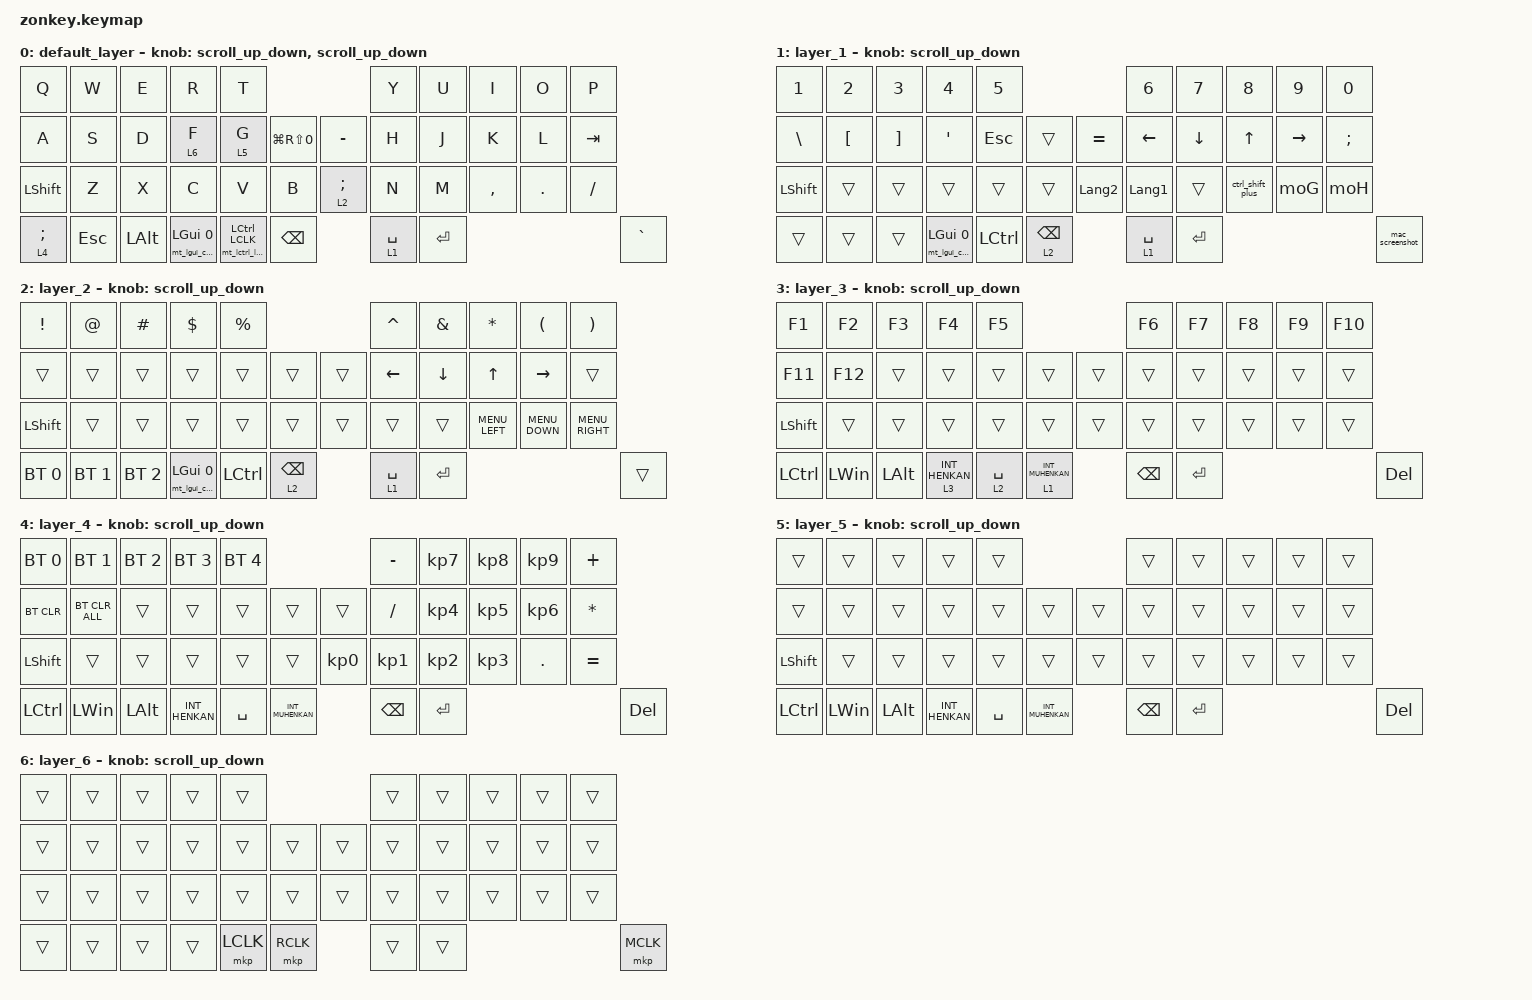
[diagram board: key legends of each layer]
#include <behaviors.dtsi>
#include <dt-bindings/zmk/bt.h>
#include <dt-bindings/zmk/keys.h>
#include <dt-bindings/zmk/pointing.h>
#include "zonkey-custom.dtsi"

#define MOUSE 6
#define JP_DQUOTE       AT                // "
#define JP_AMPERSAND    CARET             // &
#define JP_QUOTE        AMPERSAND         // '
#define JP_EQUAL        UNDER             // =
#define JP_CARET        EQUAL             // ^
#define JP_YEN          0x89              // ¥
#define JP_PLUS         COLON             // +
#define JP_TILDE        PLUS              // ~
#define JP_PIPE         LS(0x89)          // |
#define JP_AT           LEFT_BRACKET      // @
#define JP_COLON        SINGLE_QUOTE      // :
#define JP_ASTERISK     DOUBLE_QUOTES     // *
#define JP_BACKQUOTE    LEFT_BRACE        // `
#define JP_UNDERSCORE   LS(0x87)          // _
#define JP_LBRACKET     RIGHT_BRACKET     // [
#define JP_RBRACKET     BACKSLASH         // ]
#define JP_LPAREN       ASTERISK          // (
#define JP_RPAREN       LEFT_PARENTHESIS  // )
#define JP_LBRACE       RIGHT_BRACE       // {
#define JP_RBRACE       PIPE              // }
#define JP_KANA         LANGUAGE_1        // かな
#define JP_EISU         LANGUAGE_2        // 英数
#define JP_HANZEN       GRAVE             // 半角/全角
#define JP_BSLH  INT1         // (backslash)

&mt {
    flavor = "balanced";
    quick-tap-ms = <0>;
};

/ {
    combos { compatible = "zmk,combos"; };

    mo2: mo2 {
        compatible = "zmk,behavior-mod-morph";
        #binding-cells = <0>;
        bindings = <&kp N2>, <&kp AT>;

        mods = <(MOD_LSFT|MOD_RSFT)>;
    };

    mo6: mo6 {
        compatible = "zmk,behavior-mod-morph";
        #binding-cells = <0>;
        bindings = <&kp N6>, <&kp CARET>;

        mods = <(MOD_LSFT|MOD_RSFT)>;
    };

    mo7: mo7 {
        compatible = "zmk,behavior-mod-morph";
        #binding-cells = <0>;
        bindings = <&kp N7>, <&kp AMPS>;

        mods = <(MOD_LSFT|MOD_RSFT)>;
    };

    mo8: mo8 {
        compatible = "zmk,behavior-mod-morph";
        #binding-cells = <0>;
        bindings = <&kp N8>, <&kp ASTRK>;

        mods = <(MOD_LSFT|MOD_RSFT)>;
    };

    mo9: mo9 {
        compatible = "zmk,behavior-mod-morph";
        #binding-cells = <0>;
        bindings = <&kp N9>, <&kp LPAR>;

        mods = <(MOD_LSFT|MOD_RSFT)>;
    };

    mo0: mo0 {
        compatible = "zmk,behavior-mod-morph";
        #binding-cells = <0>;
        bindings = <&kp N0>, <&kp LS(N9)>;

        mods = <(MOD_LSFT|MOD_RSFT)>;
    };

    moA: moA {
        compatible = "zmk,behavior-mod-morph";
        #binding-cells = <0>;
        bindings = <&kp MINUS>, <&kp UNDERSCORE>;

        mods = <(MOD_LSFT|MOD_RSFT)>;
    };

    moB: moB {
        compatible = "zmk,behavior-mod-morph";
        #binding-cells = <0>;
        bindings = <&kp EQUAL>, <&kp PLUS>;

        mods = <(MOD_LSFT|MOD_RSFT)>;
    };

    moC: moC {
        compatible = "zmk,behavior-mod-morph";
        #binding-cells = <0>;
        bindings = <&kp INT3>, <&kp JP_PIPE>;

        mods = <(MOD_LSFT|MOD_RSFT)>;
    };

    moD: moD {
        compatible = "zmk,behavior-mod-morph";
        #binding-cells = <0>;
        bindings = <&kp LBKT>, <&kp LBRC>;

        mods = <(MOD_LSFT|MOD_RSFT)>;
    };

    moE: moE {
        compatible = "zmk,behavior-mod-morph";
        #binding-cells = <0>;
        bindings = <&kp RBKT>, <&kp RBRC>;

        mods = <(MOD_LSFT|MOD_RSFT)>;
    };

    moF: moF {
        compatible = "zmk,behavior-mod-morph";
        #binding-cells = <0>;
        bindings = <&kp SEMI>, <&kp KP_PLUS>;

        mods = <(MOD_LSFT|MOD_RSFT)>;
    };

    moG: moG {
        compatible = "zmk,behavior-mod-morph";
        #binding-cells = <0>;
        bindings = <&kp APOSTROPHE>, <&kp DQT>;

        mods = <(MOD_LSFT|MOD_RSFT)>;
    };

    moH: moH {
        compatible = "zmk,behavior-mod-morph";
        #binding-cells = <0>;
        bindings = <&kp BACKSLASH>, <&kp TILDE2>;

        mods = <(MOD_LSFT|MOD_RSFT)>;
    };

    moI: moI {
        compatible = "zmk,behavior-mod-morph";
        #binding-cells = <0>;
        bindings = <&kp JP_BSLH>, <&kp JP_UNDERSCORE>;

        mods = <(MOD_LSFT|MOD_RSFT)>;
    };

    macros {
        to_layer_0: to_layer_0 {
            compatible = "zmk,behavior-macro-one-param";
            #binding-cells = <1>;
            bindings = <&to 0 &macro_param_1to1 &kp MACRO_PLACEHOLDER>;
            label = "TO_LAYER_0";
        };
    };

    behaviors {
        lt_to_layer_0: lt_to_layer_0 {
            compatible = "zmk,behavior-hold-tap";
            label = "LAYER_TAP_TO_0";
            bindings = <&mo>, <&to_layer_0>;

            #binding-cells = <2>;
            tapping-term-ms = <200>;
        };
    };

    keymap {
        compatible = "zmk,keymap";

        default_layer {
            // Custom layout based on personal configuration
            bindings = <
&kp Q            &kp W    &kp E         &kp R                      &kp T                                                         &kp Y        &kp U      &kp I      &kp O    &kp P
&kp A            &kp S    &kp D         &lt 6 F                    &lt 5 G                    &kp LG(RS(N0))    &kp MINUS        &kp H        &kp J      &kp K      &kp L    &kp TAB
&kp LEFT_SHIFT   &kp Z    &kp X         &kp C                      &kp V                      &kp B             &lt 2 SEMICOLON  &kp N        &kp M      &kp COMMA  &kp DOT  &kp SLASH
&lt 4 SEMICOLON  &kp ESC  &kp LEFT_ALT  &mt_lgui_ctrlspace LGUI 0  &mt_lctrl_lclk LCTRL LCLK  &kp BACKSPACE                      &lt 1 SPACE  &kp ENTER                                 &kp GRAVE
            >;

            sensor-bindings = <&scroll_up_down>, <&scroll_up_down>;
        };

        layer_1 {
            // Custom layer 1 configuration
            bindings = <
&kp NUMBER_1    &kp NUMBER_2  &kp NUMBER_3  &kp NUMBER_4               &kp NUMBER_5                                  &kp NUMBER_6    &kp NUMBER_7  &kp N8            &kp N9     &kp N0
&kp BACKSLASH   &kp LBKT      &kp RBKT      &kp SQT                    &kp ESCAPE    &trans             &kp EQUAL    &kp LEFT_ARROW  &kp DOWN      &kp UP_ARROW      &kp RIGHT  &kp SEMICOLON
&kp LEFT_SHIFT  &trans        &trans        &trans                     &trans        &trans             &kp JP_EISU  &kp JP_KANA     &trans        &ctrl_shift_plus  &moG       &moH
&trans          &trans        &trans        &mt_lgui_ctrlspace LGUI 0  &kp LCTRL     &lt 2 BACKSPACE                 &lt 1 SPACE     &kp ENTER                                                 &mac_screenshot
            >;

            sensor-bindings = <&scroll_up_down>;
        };

        layer_2 {
            // Custom layer 2 configuration
            bindings = <
&kp EXCL        &kp AT        &kp HASH      &kp DLLR                   &kp PRCNT                             &kp CARET    &kp AMPS   &kp STAR         &kp LPAR         &kp RPAR
&trans          &trans        &trans        &trans                     &trans     &trans             &trans  &kp LEFT     &kp DOWN   &kp UP_ARROW     &kp RIGHT        &trans
&kp LEFT_SHIFT  &trans        &trans        &trans                     &trans     &trans             &trans  &trans       &trans     &kp C_MENU_LEFT  &kp C_MENU_DOWN  &kp C_MENU_RIGHT
&bt BT_SEL 0    &bt BT_SEL 1  &bt BT_SEL 2  &mt_lgui_ctrlspace LGUI 0  &kp LCTRL  &lt 2 BACKSPACE            &lt 1 SPACE  &kp ENTER                                                      &trans
            >;

            sensor-bindings = <&scroll_up_down>;
        };

        layer_3 {
            // -----------------------------------------------------------------------------------------
            // | F1  | F2  | F3  | F4  | F5  |                     | F6  | F7 | F8  | F9 | F10 |
            // | F11 | F12 |     |     |     |     |           |    |     |     |     |     |      |
            // |SHIFT|     |     |     |     |     |           |     |     |     |     |     |      |
            // | CTRL| WIN | ALT |HENKAN|SPACE|MUHENKAN|         | BS | ENT |                   | DEL |

            bindings = <
&kp F1          &kp F2        &kp F3        &kp F4            &kp F5                                     &kp F6         &kp F7     &kp F8  &kp F9  &kp F10
&kp F11         &kp F12       &trans        &trans            &trans       &trans                &trans  &trans         &trans     &trans  &trans  &trans
&kp LEFT_SHIFT  &trans        &trans        &trans            &trans       &trans                &trans  &trans         &trans     &trans  &trans  &trans
&kp LCTRL       &kp LEFT_WIN  &kp LEFT_ALT  &lt 3 INT_HENKAN  &lt 2 SPACE  &lt 1 INT_MUHENKAN            &kp BACKSPACE  &kp ENTER                           &kp DEL
            >;

            sensor-bindings = <&scroll_up_down>;
        };

        layer_4 {
            // -----------------------------------------------------------------------------------------
            // | BT0 | BT1 | BT2 | BT3 | BT4 |                |  -  |  7  |  8  |  9  |  +  |
            // |BTCLR |     |     |     |     |     |           |  /  |  4  |  5  |  6  |  *  | 
            // |SHIFT|     |     |     |     |     |           |  0  |  1  |  2  |   3 |  .  |  =  |
            // | CTRL| WIN | ALT |HENKAN|SPACE|MUHENKAN|        | BS | ENT |                  | DEL |

            bindings = <
&bt BT_SEL 0    &bt BT_SEL 1    &bt BT_SEL 2  &bt BT_SEL 3    &bt BT_SEL 4                                       &kp MINUS        &kp KP_NUMBER_7  &kp KP_NUMBER_8  &kp KP_NUMBER_9  &kp PLUS
&bt BT_CLR      &bt BT_CLR_ALL  &trans        &trans          &trans        &trans              &trans           &kp SLASH        &kp KP_NUMBER_4  &kp KP_NUMBER_5  &kp KP_NUMBER_6  &kp ASTERISK
&kp LEFT_SHIFT  &trans          &trans        &trans          &trans        &trans              &kp KP_NUMBER_0  &kp KP_NUMBER_1  &kp KP_NUMBER_2  &kp KP_NUMBER_3  &kp PERIOD       &kp EQUAL
&kp LCTRL       &kp LEFT_WIN    &kp LEFT_ALT  &kp INT_HENKAN  &kp SPACE     &kp INT_MUHENKAN                     &kp BACKSPACE    &kp ENTER                                                        &kp DEL
            >;

            sensor-bindings = <&scroll_up_down>;
        };

        layer_5 {
            // -----------------------------------------------------------------------------------------
            // |      |     |     |     |     |                     |     |     |     |     |      |
            // |      |     |     |     |     |     |           |    |     |     |     |     |      |
            // |SHIFT|     |     |     |     |     |          |     |     |     |     |     |      |
            // | CTRL| WIN | ALT |HENKAN|SPACE|MUHENKAN|        | BS | ENT |                  | DEL |

            bindings = <
&trans          &trans        &trans        &trans          &trans                                 &trans         &trans     &trans  &trans  &trans
&trans          &trans        &trans        &trans          &trans     &trans              &trans  &trans         &trans     &trans  &trans  &trans
&kp LEFT_SHIFT  &trans        &trans        &trans          &trans     &trans              &trans  &trans         &trans     &trans  &trans  &trans
&kp LCTRL       &kp LEFT_WIN  &kp LEFT_ALT  &kp INT_HENKAN  &kp SPACE  &kp INT_MUHENKAN            &kp BACKSPACE  &kp ENTER                          &kp DEL
            >;

            sensor-bindings = <&scroll_up_down>;
        };

        layer_6 {
            bindings = <
&trans  &trans  &trans  &trans  &trans                          &trans  &trans  &trans  &trans  &trans
&trans  &trans  &trans  &trans  &trans     &trans       &trans  &trans  &trans  &trans  &trans  &trans
&trans  &trans  &trans  &trans  &trans     &trans       &trans  &trans  &trans  &trans  &trans  &trans
&trans  &trans  &trans  &trans  &mkp LCLK  &mkp RCLK            &trans  &trans                          &mkp MCLK
            >;

            sensor-bindings = <&scroll_up_down>;
        };
    };
};
